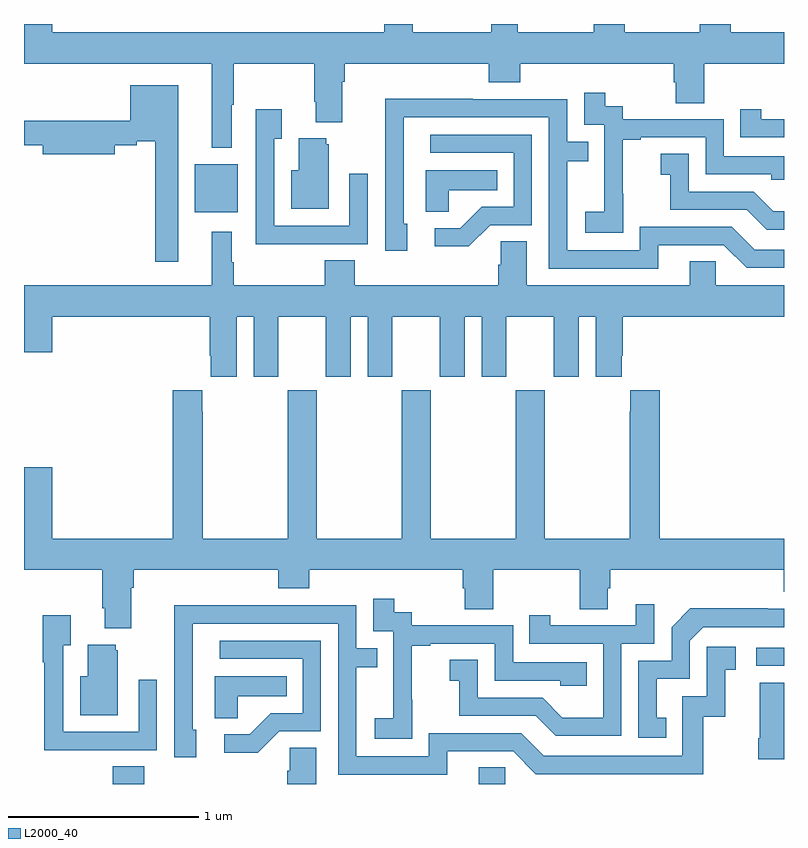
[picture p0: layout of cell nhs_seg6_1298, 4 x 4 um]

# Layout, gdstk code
import gdstk
lib = gdstk.Library(unit=1e-6, precision=1e-09)
def R(c, l, rs):  # rectangles x0, y0, x1, y1
    for r in rs: c.add(gdstk.rectangle(r[:2], r[2:], *l))
def P(c, l, *ps):  # polygons
    for p in ps: c.add(gdstk.Polygon(p, *l))
L2000_40 = (2000, 40)

nhs_seg6_1298 = lib.new_cell('nhs_seg6_1298')
R(nhs_seg6_1298, L2000_40, [(189.467,987.5,189.632,987.593), (191.393,987.5,191.532,987.587), (192.855,988.122,193,988.218), (189.899,990.509,190.126,990.763)])
P(nhs_seg6_1298, L2000_40, [(190.093,991.076),(190.103,991.076),(190.103,991.292),(190.528,991.292),(190.528,991.09),(190.535,991.09),(190.535,990.983),(190.675,990.983),(190.675,991.196),(190.688,991.196),(190.688,991.292),(191.447,991.292),(191.447,991.193),(191.612,991.193),(191.612,991.292),(192.419,991.292),(192.419,991.194),(192.431,991.194),(192.431,991.084),(192.579,991.084),(192.579,991.292),(193,991.292),(193,991.456),(192.721,991.456),(192.721,991.5),(192.557,991.5),(192.557,991.456),(192.163,991.456),(192.163,991.5),(191.999,991.5),(191.999,991.456),(191.599,991.456),(191.599,991.5),(191.459,991.5),(191.459,991.456),(191.047,991.456),(191.047,991.5),(190.895,991.5),(190.895,991.456),(189.148,991.456),(189.148,991.5),(189,991.5),(189,991.292),(189.989,991.292),(189.989,990.848),(190.093,990.848)],
  [(189.811,991.177),(189.56,991.177),(189.56,990.991),(189,990.991),(189,990.862),(189.098,990.862),(189.098,990.815),(189.478,990.815),(189.478,990.862),(189.593,990.862),(189.593,990.882),(189.69,990.882),(189.69,990.249),(189.811,990.249)],
  [(192.153,990.607),(192.152,990.607),(192.152,990.891),(192.247,990.891),(192.247,990.903),(192.588,990.903),(192.588,990.708),(192.933,990.708),(192.933,990.681),(193,990.681),(193,990.804),(192.684,990.804),(192.684,990.999),(192.15,990.999),(192.15,991.068),(192.058,991.068),(192.058,991.138),(191.949,991.138),(191.949,990.969),(192.054,990.969),(192.054,990.74),(192.053,990.74),(192.053,990.511),(191.955,990.511),(191.955,990.401),(192.153,990.401)],
  [(192.337,990.336),(192.684,990.336),(192.804,990.216),(193,990.216),(193,990.312),(192.846,990.312),(192.726,990.432),(192.24,990.432),(192.24,990.309),(191.859,990.309),(191.859,990.778),(191.969,990.778),(191.969,990.879),(191.859,990.879),(191.859,991.104),(191.363,991.104),(191.363,991.106),(190.9,991.106),(190.9,990.799),(190.902,990.799),(190.902,990.306),(191.017,990.306),(191.017,990.45),(190.998,990.45),(190.998,991.008),(191.763,991.008),(191.763,990.213),(192.337,990.213)],
  [(190.493,990.342),(190.809,990.342),(190.809,990.712),(190.713,990.712),(190.713,990.438),(190.317,990.438),(190.317,990.895),(190.357,990.895),(190.357,991.051),(190.221,991.051),(190.221,990.341),(190.493,990.341)],
  [(193,990.999),(192.88,990.999),(192.88,991.051),(192.769,991.051),(192.769,990.903),(193,990.903)],
  [(191.454,990.441),(191.673,990.441),(191.673,990.918),(191.139,990.918),(191.139,990.822),(191.577,990.822),(191.577,990.537),(191.408,990.537),(191.297,990.426),(191.163,990.426),(191.163,990.329),(191.341,990.329)],
  [(190.603,990.867),(190.592,990.867),(190.592,990.898),(190.445,990.898),(190.445,990.73),(190.406,990.73),(190.406,990.527),(190.603,990.527)],
  [(193,990.514),(192.944,990.514),(192.84,990.618),(192.498,990.618),(192.498,990.817),(192.351,990.817),(192.351,990.707),(192.4,990.707),(192.4,990.522),(192.803,990.522),(192.908,990.417),(193,990.417)],
  [(191.235,990.626),(191.492,990.626),(191.492,990.73),(191.114,990.73),(191.114,990.511),(191.235,990.511)],
  [(190.12,989.96),(190.208,989.96),(190.208,989.643),(190.339,989.643),(190.339,989.96),(190.589,989.96),(190.589,989.643),(190.72,989.643),(190.72,989.96),(190.808,989.96),(190.808,989.643),(190.939,989.643),(190.939,989.96),(191.189,989.96),(191.189,989.643),(191.32,989.643),(191.32,989.96),(191.408,989.96),(191.408,989.643),(191.539,989.643),(191.539,989.96),(191.789,989.96),(191.789,989.643),(191.92,989.643),(191.92,989.96),(192.008,989.96),(192.008,989.643),(192.145,989.643),(192.145,989.755),(192.152,989.755),(192.152,989.96),(193,989.96),(193,990.124),(192.642,990.124),(192.642,990.251),(192.503,990.251),(192.503,990.124),(191.647,990.124),(191.647,990.356),(191.508,990.356),(191.508,990.233),(191.495,990.233),(191.495,990.124),(190.742,990.124),(190.742,990.257),(190.582,990.257),(190.582,990.124),(190.103,990.124),(190.103,990.245),(190.093,990.245),(190.093,990.406),(189.989,990.406),(189.989,990.124),(189,990.124),(189,989.772),(189.148,989.772),(189.148,989.96),(189.977,989.96),(189.977,989.755),(189.983,989.755),(189.983,989.643),(190.12,989.643)],
  [(189.565,988.532),(189.578,988.532),(189.578,988.628),(190.337,988.628),(190.337,988.529),(190.502,988.529),(190.502,988.628),(191.309,988.628),(191.309,988.53),(191.321,988.53),(191.321,988.42),(191.469,988.42),(191.469,988.628),(191.926,988.628),(191.926,988.42),(192.073,988.42),(192.073,988.53),(192.086,988.53),(192.086,988.628),(192.998,988.628),(192.998,988.511),(193,988.511),(193,988.792),(192.347,988.792),(192.347,989.572),(192.191,989.572),(192.191,989.459),(192.187,989.459),(192.187,988.792),(191.742,988.792),(191.742,989.572),(191.587,989.572),(191.587,988.792),(191.142,988.792),(191.142,989.572),(190.987,989.572),(190.987,988.792),(190.542,988.792),(190.542,989.572),(190.387,989.572),(190.387,988.792),(189.942,988.792),(189.942,989.459),(189.937,989.459),(189.937,989.572),(189.782,989.572),(189.782,988.792),(189.148,988.792),(189.148,989.167),(189,989.167),(189,988.628),(189.413,988.628),(189.413,988.426),(189.425,988.426),(189.425,988.319),(189.565,988.319)],
  [(191.043,987.943),(191.042,987.943),(191.042,988.227),(191.137,988.227),(191.137,988.239),(191.478,988.239),(191.478,988.044),(191.823,988.044),(191.823,988.017),(191.963,988.017),(191.963,988.14),(191.574,988.14),(191.574,988.335),(191.04,988.335),(191.04,988.404),(190.948,988.404),(190.948,988.474),(190.839,988.474),(190.839,988.305),(190.944,988.305),(190.944,988.076),(190.943,988.076),(190.943,987.847),(190.845,987.847),(190.845,987.737),(191.043,987.737)],
  [(192.144,988.239),(192.318,988.239),(192.318,988.447),(192.221,988.447),(192.221,988.335),(191.77,988.335),(191.77,988.387),(191.659,988.387),(191.659,988.239),(192.048,988.239),(192.048,987.85),(191.834,987.85),(191.73,987.954),(191.388,987.954),(191.388,988.153),(191.241,988.153),(191.241,988.043),(191.29,988.043),(191.29,987.858),(191.693,987.858),(191.798,987.753),(192.144,987.753)],
  [(191.227,987.672),(191.574,987.672),(191.694,987.552),(192.574,987.552),(192.574,987.855),(192.692,987.855),(192.692,988.101),(192.745,988.101),(192.745,988.222),(192.594,988.222),(192.594,987.963),(192.465,987.963),(192.465,987.648),(191.736,987.648),(191.616,987.768),(191.13,987.768),(191.13,987.645),(190.749,987.645),(190.749,988.114),(190.859,988.114),(190.859,988.215),(190.749,988.215),(190.749,988.44),(190.253,988.44),(190.253,988.442),(189.79,988.442),(189.79,988.135),(189.792,988.135),(189.792,987.642),(189.907,987.642),(189.907,987.786),(189.888,987.786),(189.888,988.344),(190.653,988.344),(190.653,987.549),(191.227,987.549)],
  [(192.38,987.849),(192.331,987.849),(192.331,988.053),(192.504,988.053),(192.504,988.254),(192.576,988.326),(193,988.326),(193,988.422),(192.914,988.422),(192.914,988.424),(192.506,988.424),(192.408,988.326),(192.408,988.149),(192.234,988.149),(192.234,987.744),(192.38,987.744)],
  [(189.383,987.678),(189.699,987.678),(189.699,988.048),(189.603,988.048),(189.603,987.774),(189.207,987.774),(189.207,988.231),(189.247,988.231),(189.247,988.387),(189.099,988.387),(189.099,988.142),(189.106,988.142),(189.106,987.677),(189.383,987.677)],
  [(190.344,987.777),(190.563,987.777),(190.563,988.254),(190.029,988.254),(190.029,988.158),(190.467,988.158),(190.467,987.873),(190.298,987.873),(190.187,987.762),(190.053,987.762),(190.053,987.665),(190.231,987.665)],
  [(189.493,988.203),(189.482,988.203),(189.482,988.234),(189.335,988.234),(189.335,988.066),(189.296,988.066),(189.296,987.863),(189.493,987.863)],
  [(190.125,987.962),(190.382,987.962),(190.382,988.066),(190.004,988.066),(190.004,987.847),(190.125,987.847)],
  [(193,988.033),(192.872,988.033),(192.872,987.742),(192.865,987.742),(192.865,987.63),(193,987.63)],
  [(190.537,987.692),(190.398,987.692),(190.398,987.569),(190.385,987.569),(190.385,987.5),(190.537,987.5)])

lib.write_gds('nhs_seg6_1298.gds')
